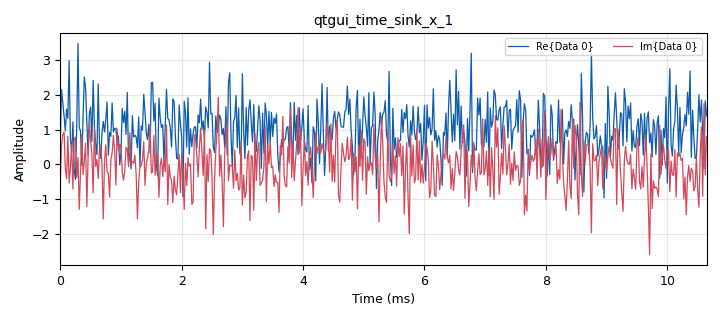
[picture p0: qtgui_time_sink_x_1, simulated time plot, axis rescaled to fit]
<?xml version='1.0' encoding='utf-8'?>
<?grc format='1' created='3.7.12'?>
<flow_graph>
<block>
<key>options</key>
<param><key>id</key><value>top_block</value></param>
<param><key>generate_options</key><value>qt_gui</value></param>
</block>
<block>
<key>variable_qtgui_range</key>
<param><key>id</key><value>delay2</value></param>
<param><key>value</key><value>5</value></param>
<param><key>label</key><value>delay2</value></param>
<param><key>orient</key><value>Qt.Horizontal</value></param>
<param><key>start</key><value>0</value></param>
<param><key>step</key><value>1</value></param>
<param><key>stop</key><value>100</value></param>
</block>
<block>
<key>variable_qtgui_range</key>
<param><key>id</key><value>delay2_0</value></param>
<param><key>value</key><value>17</value></param>
<param><key>label</key><value>Input delay</value></param>
<param><key>orient</key><value>Qt.Horizontal</value></param>
<param><key>start</key><value>0</value></param>
<param><key>step</key><value>1</value></param>
<param><key>stop</key><value>100</value></param>
</block>
<block>
<key>variable_qtgui_chooser</key>
<param><key>id</key><value>input_chooser</value></param>
<param><key>value</key><value>1</value></param>
<param><key>gui_hint</key><value>0,0,1,1</value></param>
<param><key>label0</key><value>Test Symbol stream [3,3,-3,-3]</value></param>
<param><key>label1</key><value>Stochastic Stream</value></param>
<param><key>label</key><value>Input Selection</value></param>
<param><key>num_opts</key><value>2</value></param>
<param><key>option0</key><value>0</value></param>
<param><key>option1</key><value>1</value></param>
<param><key>type</key><value>int</value></param>
</block>
<block>
<key>variable_qtgui_range</key>
<param><key>id</key><value>noise</value></param>
<param><key>value</key><value>0</value></param>
<param><key>label</key><value>Noise</value></param>
<param><key>orient</key><value>Qt.Horizontal</value></param>
<param><key>start</key><value>0</value></param>
<param><key>step</key><value>0.01</value></param>
<param><key>stop</key><value>1</value></param>
</block>
<block>
<key>variable</key>
<param><key>id</key><value>sample_rate</value></param>
<param><key>value</key><value>48000</value></param>
</block>
<block>
<key>analog_const_source_x</key>
<param><key>id</key><value>analog_const_source_x_0</value></param>
<param><key>const</key><value>1</value></param>
<param><key>type</key><value>complex</value></param>
</block>
<block>
<key>analog_noise_source_x</key>
<param><key>id</key><value>analog_noise_source_x_0</value></param>
<param><key>amp</key><value>float(noise)</value></param>
<param><key>noise_type</key><value>analog.GR_GAUSSIAN</value></param>
<param><key>type</key><value>complex</value></param>
<param><key>seed</key><value>0</value></param>
</block>
<block>
<key>analog_noise_source_x</key>
<param><key>id</key><value>analog_noise_source_x_1</value></param>
<param><key>amp</key><value>1</value></param>
<param><key>noise_type</key><value>analog.GR_GAUSSIAN</value></param>
<param><key>type</key><value>complex</value></param>
<param><key>seed</key><value>0</value></param>
</block>
<block>
<key>analog_random_uniform_source_x</key>
<param><key>id</key><value>analog_random_uniform_source_x_0</value></param>
<param><key>maximum</key><value>4</value></param>
<param><key>minimum</key><value>0</value></param>
<param><key>type</key><value>int</value></param>
<param><key>seed</key><value>0</value></param>
</block>
<block>
<key>blocks_add_xx</key>
<param><key>id</key><value>blocks_add_xx_0</value></param>
<param><key>type</key><value>int</value></param>
</block>
<block>
<key>blocks_add_xx</key>
<param><key>id</key><value>blocks_add_xx_1</value></param>
<param><key>type</key><value>complex</value></param>
</block>
<block>
<key>blocks_add_xx</key>
<param><key>id</key><value>blocks_add_xx_2</value></param>
<param><key>type</key><value>complex</value></param>
</block>
<block>
<key>blocks_char_to_float</key>
<param><key>id</key><value>blocks_char_to_float_0_0</value></param>
<param><key>scale</key><value>1</value></param>
</block>
<block>
<key>blocks_char_to_float</key>
<param><key>id</key><value>blocks_char_to_float_0_0_0</value></param>
<param><key>scale</key><value>1</value></param>
</block>
<block>
<key>blocks_ctrlport_monitor_performance</key>
<param><key>id</key><value>blocks_ctrlport_monitor_performance_0</value></param>
<param><key>en</key><value>False</value></param>
</block>
<block>
<key>blocks_delay</key>
<param><key>id</key><value>blocks_delay_0</value></param>
<param><key>delay</key><value>int(delay2_0)</value></param>
<param><key>type</key><value>float</value></param>
</block>
<block>
<key>blocks_float_to_char</key>
<param><key>id</key><value>blocks_float_to_char_0</value></param>
<param><key>scale</key><value>1</value></param>
</block>
<block>
<key>blocks_int_to_float</key>
<param><key>id</key><value>blocks_int_to_float_0</value></param>
<param><key>scale</key><value>1</value></param>
</block>
<block>
<key>blocks_multiply_const_vxx</key>
<param><key>id</key><value>blocks_multiply_const_vxx_1</value></param>
<param><key>const</key><value>1 if input_chooser == 0 else 0</value></param>
<param><key>type</key><value>int</value></param>
</block>
<block>
<key>blocks_multiply_const_vxx</key>
<param><key>id</key><value>blocks_multiply_const_vxx_2</value></param>
<param><key>const</key><value>1 if input_chooser == 1 else 0</value></param>
<param><key>type</key><value>int</value></param>
</block>
<block>
<key>blocks_skiphead</key>
<param><key>id</key><value>blocks_skiphead_0</value></param>
<param><key>num_items</key><value>1024</value></param>
<param><key>type</key><value>complex</value></param>
</block>
<block>
<key>blocks_throttle</key>
<param><key>id</key><value>blocks_throttle_0</value></param>
<param><key>samples_per_second</key><value>240000</value></param>
<param><key>type</key><value>int</value></param>
</block>
<block>
<key>blocks_vector_source_x</key>
<param><key>id</key><value>blocks_vector_source_x_0</value></param>
<param><key>type</key><value>int</value></param>
<param><key>repeat</key><value>True</value></param>
<param><key>vector</key><value>(1,1,3,3)</value></param>
</block>
<block>
<key>virtual_sink</key>
<param><key>id</key><value>c4fm_f_stream</value></param>
<param><key>stream_id</key><value>f_stream</value></param>
</block>
<block>
<key>import</key>
<param><key>id</key><value>import_0</value></param>
<param><key>import</key><value>import math</value></param>
</block>
<block>
<key>import</key>
<param><key>id</key><value>import_0_0</value></param>
<param><key>import</key><value>import gnuradio.filter as filter</value></param>
</block>
<block>
<key>note</key>
<param><key>id</key><value>note_0</value></param>
<param><key>note</key><value>Adjust the Sensitivity to obtain a peak of 2827 Hz with the setup signal</value></param>
</block>
<block>
<key>p25_c4fm_demodulator_fb</key>
<param><key>id</key><value>p25_c4fm_demodulator_fb_0</value></param>
<param><key>dibits</key><value>[3, 2, 0, 1]</value></param>
<param><key>filter_gain</key><value>3.0</value></param>
<param><key>span</key><value>11</value></param>
<param><key>log</key><value>False</value></param>
<param><key>sample_rate</key><value>48000</value></param>
<param><key>slice_levels</key><value>[-2, 0, 2]</value></param>
<param><key>symbol_rate</key><value>4800</value></param>
<param><key>verbose</key><value>False</value></param>
</block>
<block>
<key>p25_c4fm_demodulator_fixed_fb</key>
<param><key>id</key><value>p25_c4fm_demodulator_fixed_fb_0</value></param>
<param><key>delay</key><value>int(delay2)</value></param>
<param><key>dibits</key><value>[3, 2, 0, 1]</value></param>
<param><key>filter_gain</key><value>3.0</value></param>
<param><key>span</key><value>11</value></param>
<param><key>log</key><value>False</value></param>
<param><key>sample_rate</key><value>48000</value></param>
<param><key>slice_levels</key><value>[-2, 0, 2]</value></param>
<param><key>symbol_rate</key><value>4800</value></param>
<param><key>verbose</key><value>False</value></param>
</block>
<block>
<key>p25_c4fm_modulator_bf</key>
<param><key>id</key><value>p25_c4fm_modulator_bf_0</value></param>
<param><key>dibit_map</key><value>[1.0/3.0, 1.0, -(1.0/3.0), -1.0]</value></param>
<param><key>filter_gain</key><value>1</value></param>
<param><key>span</key><value>11</value></param>
<param><key>log</key><value>False</value></param>
<param><key>sample_rate</key><value>48000</value></param>
<param><key>symbol_rate</key><value>4800</value></param>
<param><key>verbose</key><value>False</value></param>
</block>
<block>
<key>p25_freq_demod_cf</key>
<param><key>id</key><value>p25_freq_demod_cf_0</value></param>
<param><key>gain_adjust</key><value>1.0</value></param>
<param><key>log</key><value>False</value></param>
<param><key>max_amplitude</key><value>4.38895</value></param>
<param><key>max_deviation</key><value>2827</value></param>
<param><key>sample_rate</key><value>48000</value></param>
<param><key>verbose</key><value>False</value></param>
</block>
<block>
<key>p25_freq_mod_fc</key>
<param><key>id</key><value>p25_freq_mod_fc_0</value></param>
<param><key>log</key><value>False</value></param>
<param><key>max_amplitude</key><value>4.38895</value></param>
<param><key>max_deviation</key><value>2827</value></param>
<param><key>sample_rate</key><value>48000</value></param>
<param><key>sensitivity_adjust</key><value>1</value></param>
<param><key>verbose</key><value>False</value></param>
</block>
<block>
<key>qtgui_time_sink_x</key>
<param><key>id</key><value>qtgui_time_sink_x_0</value></param>
<param><key>color1</key><value>"blue"</value></param>
<param><key>label1</key><value>Chain Fixed</value></param>
<param><key>color2</key><value>"red"</value></param>
<param><key>label2</key><value>Chain Actual</value></param>
<param><key>marker2</key><value>2</value></param>
<param><key>color3</key><value>"green"</value></param>
<param><key>label3</key><value>Chain Fixed Test</value></param>
<param><key>nconnections</key><value>3</value></param>
<param><key>size</key><value>1024</value></param>
<param><key>srate</key><value>4800</value></param>
<param><key>type</key><value>float</value></param>
<param><key>ymax</key><value>5</value></param>
<param><key>ymin</key><value>-5</value></param>
</block>
<block>
<key>qtgui_time_sink_x</key>
<param><key>id</key><value>qtgui_time_sink_x_1</value></param>
<param><key>color1</key><value>"blue"</value></param>
<param><key>label1</key><value></value></param>
<param><key>color2</key><value>"red"</value></param>
<param><key>label2</key><value></value></param>
<param><key>size</key><value>512</value></param>
<param><key>srate</key><value>48000</value></param>
<param><key>type</key><value>complex</value></param>
</block>
<block>
<key>virtual_sink</key>
<param><key>id</key><value>virtual_sink_0</value></param>
<param><key>stream_id</key><value>input</value></param>
</block>
<block>
<key>virtual_sink</key>
<param><key>id</key><value>virtual_sink_0_0</value></param>
<param><key>stream_id</key><value>C4FM Stream</value></param>
</block>
<block>
<key>virtual_sink</key>
<param><key>id</key><value>virtual_sink_0_0_0_0</value></param>
<param><key>stream_id</key><value>C4FM Actual</value></param>
</block>
<block>
<key>virtual_sink</key>
<param><key>id</key><value>virtual_sink_0_0_0_0_0</value></param>
<param><key>stream_id</key><value>C4FM Fixed</value></param>
</block>
<block>
<key>virtual_sink</key>
<param><key>id</key><value>virtual_sink_0_0_1</value></param>
<param><key>stream_id</key><value>Symbol Input</value></param>
</block>
<block>
<key>virtual_source</key>
<param><key>id</key><value>virtual_source_0</value></param>
<param><key>stream_id</key><value>input</value></param>
</block>
<block>
<key>virtual_source</key>
<param><key>id</key><value>virtual_source_0_0</value></param>
<param><key>stream_id</key><value>C4FM Stream</value></param>
</block>
<block>
<key>virtual_source</key>
<param><key>id</key><value>virtual_source_0_0_0</value></param>
<param><key>stream_id</key><value>Symbol Input</value></param>
</block>
<block>
<key>virtual_source</key>
<param><key>id</key><value>virtual_source_0_0_1</value></param>
<param><key>stream_id</key><value>C4FM Actual</value></param>
</block>
<block>
<key>virtual_source</key>
<param><key>id</key><value>virtual_source_0_0_1_0</value></param>
<param><key>stream_id</key><value>C4FM Fixed</value></param>
</block>
<connection><source_block_id>analog_const_source_x_0</source_block_id><sink_block_id>blocks_add_xx_2</sink_block_id><source_key>0</source_key><sink_key>0</sink_key></connection>
<connection><source_block_id>analog_noise_source_x_0</source_block_id><sink_block_id>blocks_add_xx_1</sink_block_id><source_key>0</source_key><sink_key>1</sink_key></connection>
<connection><source_block_id>analog_noise_source_x_1</source_block_id><sink_block_id>blocks_add_xx_2</sink_block_id><source_key>0</source_key><sink_key>1</sink_key></connection>
<connection><source_block_id>analog_random_uniform_source_x_0</source_block_id><sink_block_id>blocks_multiply_const_vxx_2</sink_block_id><source_key>0</source_key><sink_key>0</sink_key></connection>
<connection><source_block_id>blocks_add_xx_0</source_block_id><sink_block_id>blocks_throttle_0</sink_block_id><source_key>0</source_key><sink_key>0</sink_key></connection>
<connection><source_block_id>blocks_add_xx_1</source_block_id><sink_block_id>p25_freq_demod_cf_0</sink_block_id><source_key>0</source_key><sink_key>0</sink_key></connection>
<connection><source_block_id>blocks_add_xx_2</source_block_id><sink_block_id>blocks_skiphead_0</sink_block_id><source_key>0</source_key><sink_key>0</sink_key></connection>
<connection><source_block_id>blocks_char_to_float_0_0</source_block_id><sink_block_id>virtual_sink_0_0_0_0</sink_block_id><source_key>0</source_key><sink_key>0</sink_key></connection>
<connection><source_block_id>blocks_char_to_float_0_0_0</source_block_id><sink_block_id>virtual_sink_0_0_0_0_0</sink_block_id><source_key>0</source_key><sink_key>0</sink_key></connection>
<connection><source_block_id>blocks_delay_0</source_block_id><sink_block_id>qtgui_time_sink_x_0</sink_block_id><source_key>0</source_key><sink_key>0</sink_key></connection>
<connection><source_block_id>blocks_float_to_char_0</source_block_id><sink_block_id>virtual_sink_0</sink_block_id><source_key>0</source_key><sink_key>0</sink_key></connection>
<connection><source_block_id>blocks_int_to_float_0</source_block_id><sink_block_id>blocks_float_to_char_0</sink_block_id><source_key>0</source_key><sink_key>0</sink_key></connection>
<connection><source_block_id>blocks_int_to_float_0</source_block_id><sink_block_id>virtual_sink_0_0_1</sink_block_id><source_key>0</source_key><sink_key>0</sink_key></connection>
<connection><source_block_id>blocks_multiply_const_vxx_1</source_block_id><sink_block_id>blocks_add_xx_0</sink_block_id><source_key>0</source_key><sink_key>0</sink_key></connection>
<connection><source_block_id>blocks_multiply_const_vxx_2</source_block_id><sink_block_id>blocks_add_xx_0</sink_block_id><source_key>0</source_key><sink_key>1</sink_key></connection>
<connection><source_block_id>blocks_skiphead_0</source_block_id><sink_block_id>qtgui_time_sink_x_1</sink_block_id><source_key>0</source_key><sink_key>0</sink_key></connection>
<connection><source_block_id>blocks_throttle_0</source_block_id><sink_block_id>blocks_int_to_float_0</sink_block_id><source_key>0</source_key><sink_key>0</sink_key></connection>
<connection><source_block_id>blocks_vector_source_x_0</source_block_id><sink_block_id>blocks_multiply_const_vxx_1</sink_block_id><source_key>0</source_key><sink_key>0</sink_key></connection>
<connection><source_block_id>p25_c4fm_demodulator_fb_0</source_block_id><sink_block_id>blocks_char_to_float_0_0</sink_block_id><source_key>0</source_key><sink_key>0</sink_key></connection>
<connection><source_block_id>p25_c4fm_demodulator_fixed_fb_0</source_block_id><sink_block_id>blocks_char_to_float_0_0_0</sink_block_id><source_key>0</source_key><sink_key>0</sink_key></connection>
<connection><source_block_id>p25_c4fm_modulator_bf_0</source_block_id><sink_block_id>c4fm_f_stream</sink_block_id><source_key>0</source_key><sink_key>0</sink_key></connection>
<connection><source_block_id>p25_c4fm_modulator_bf_0</source_block_id><sink_block_id>p25_freq_mod_fc_0</sink_block_id><source_key>0</source_key><sink_key>0</sink_key></connection>
<connection><source_block_id>p25_freq_demod_cf_0</source_block_id><sink_block_id>p25_c4fm_demodulator_fb_0</sink_block_id><source_key>0</source_key><sink_key>0</sink_key></connection>
<connection><source_block_id>p25_freq_demod_cf_0</source_block_id><sink_block_id>p25_c4fm_demodulator_fixed_fb_0</sink_block_id><source_key>0</source_key><sink_key>0</sink_key></connection>
<connection><source_block_id>p25_freq_mod_fc_0</source_block_id><sink_block_id>virtual_sink_0_0</sink_block_id><source_key>0</source_key><sink_key>0</sink_key></connection>
<connection><source_block_id>virtual_source_0</source_block_id><sink_block_id>p25_c4fm_modulator_bf_0</sink_block_id><source_key>0</source_key><sink_key>0</sink_key></connection>
<connection><source_block_id>virtual_source_0_0</source_block_id><sink_block_id>blocks_add_xx_1</sink_block_id><source_key>0</source_key><sink_key>0</sink_key></connection>
<connection><source_block_id>virtual_source_0_0_0</source_block_id><sink_block_id>blocks_delay_0</sink_block_id><source_key>0</source_key><sink_key>0</sink_key></connection>
<connection><source_block_id>virtual_source_0_0_1</source_block_id><sink_block_id>qtgui_time_sink_x_0</sink_block_id><source_key>0</source_key><sink_key>1</sink_key></connection>
<connection><source_block_id>virtual_source_0_0_1_0</source_block_id><sink_block_id>qtgui_time_sink_x_0</sink_block_id><source_key>0</source_key><sink_key>2</sink_key></connection>
</flow_graph>
